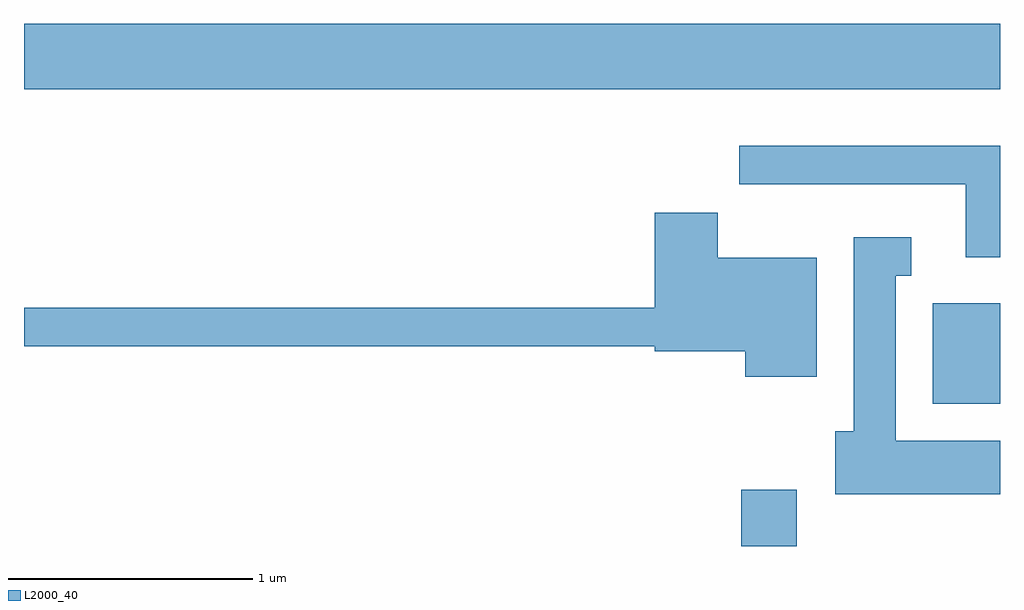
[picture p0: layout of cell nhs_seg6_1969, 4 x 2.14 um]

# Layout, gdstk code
import gdstk
lib = gdstk.Library(unit=1e-6, precision=1e-09)
def R(c, l, rs):  # rectangles x0, y0, x1, y1
    for r in rs: c.add(gdstk.rectangle(r[:2], r[2:], *l))
def P(c, l, *ps):  # polygons
    for p in ps: c.add(gdstk.Polygon(p, *l))
L2000_40 = (2000, 40)

nhs_seg6_1969 = lib.new_cell('nhs_seg6_1969')
R(nhs_seg6_1969, L2000_40, [(248.551,1548.162,248.779,1548.394), (249.336,1548.746,249.611,1549.159), (245.611,1550.036,249.611,1550.304)])
P(nhs_seg6_1969, L2000_40, [(249.611,1549.804),(248.543,1549.804),(248.543,1549.646),(249.471,1549.646),(249.471,1549.346),(249.611,1549.346)],
  [(248.859,1549.344),(248.454,1549.344),(248.454,1549.529),(248.196,1549.529),(248.196,1549.139),(245.611,1549.139),(245.611,1548.981),(248.196,1548.981),(248.196,1548.961),(248.566,1548.961),(248.566,1548.856),(248.859,1548.856)],
  [(249.611,1548.594),(249.184,1548.594),(249.184,1549.271),(249.248,1549.271),(249.248,1549.429),(249.011,1549.429),(249.011,1548.634),(248.936,1548.634),(248.936,1548.376),(249.611,1548.376)])

lib.write_gds('nhs_seg6_1969.gds')
